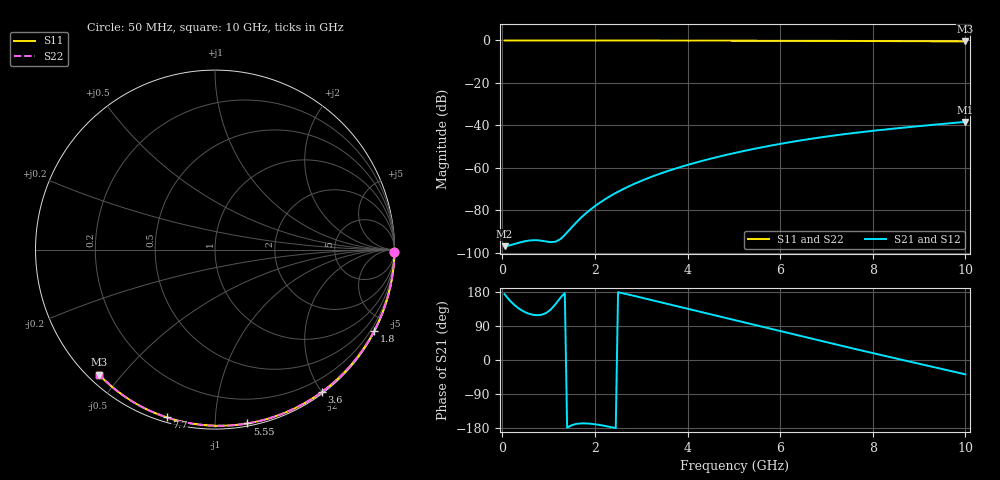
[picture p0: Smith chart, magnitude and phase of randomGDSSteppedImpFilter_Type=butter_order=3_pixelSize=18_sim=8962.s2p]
! freq	dB(S11)	phase(S11)	dB(S12)	phase(S12)
!  dB(S21)	phase(S21)	dB(S22)	phase(S22)
!S-par simulation data
#  GHz  S  DB  R 50
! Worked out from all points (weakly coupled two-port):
!   200 points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, 50 MHz to 10 GHz, reference 50 ohm
!   highest |S21| = -38.36 dB at 10 GHz (marker M1); lowest = -96.9 dB at 50 MHz (marker M2)
!   lowest |S11| = -0.4 dB at 10 GHz (marker M3), VSWR 38.78, Z = 1.53 - j21.8 ohm
!   |S11| at or under -10 dB: nowhere
!   |S22| runs from -0.4 to 0.0 dB; largest |S21 - S12| = 0
!   S11 on the Smith chart (normalised r, x): 50 MHz: open; 1.8 GHz: 0.04, -4.13; 3.6 GHz: 0.02, -2.00; 5.55 GHz: 0.02, -1.20; 7.7 GHz: 0.02, -0.75; 10 GHz: 0.03, -0.44
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0.05  -0.00 -0.8  -96.95 173.6  -96.95 173.6  -0.00 -0.8
0.45  -0.01 -6.9  -94.80 128.9  -94.80 128.9  -0.01 -6.9
0.9  -0.02 -13.7  -94.57 121.7  -94.57 121.7  -0.02 -13.7
1.75  -0.03 -26.5  -82.52 -167.2  -82.52 -167.2  -0.03 -26.5
1.8  -0.03 -27.2  -81.55 -167.3  -81.55 -167.3  -0.03 -27.2
1.9  -0.04 -28.7  -79.74 -168.1  -79.74 -168.1  -0.04 -28.7
2.05  -0.04 -30.9  -77.28 -170.4  -77.28 -170.4  -0.04 -30.9
2.25  -0.04 -33.8  -74.40 -174.7  -74.40 -174.7  -0.04 -33.8
2.45  -0.05 -36.8  -71.87 -179.7  -71.87 -179.7  -0.05 -36.8
2.65  -0.05 -39.7  -69.61 174.8  -69.61 174.8  -0.05 -39.7
3  -0.06 -44.7  -66.17 164.8  -66.17 164.8  -0.06 -44.7
3.4  -0.07 -50.4  -62.83 153.0  -62.83 153.0  -0.07 -50.4
3.6  -0.07 -53.2  -61.35 147.0  -61.35 147.0  -0.07 -53.2
4.3  -0.09 -62.8  -56.84 126.4  -56.84 126.4  -0.09 -62.8
5.05  -0.11 -72.9  -52.87 104.5  -52.87 104.5  -0.11 -72.9
5.55  -0.13 -79.4  -50.59 89.8  -50.59 89.8  -0.13 -79.4
6.1  -0.15 -86.5  -48.35 73.6  -48.35 73.6  -0.15 -86.5
6.7  -0.18 -94.0  -46.23 55.9  -46.23 55.9  -0.18 -94.0
7.7  -0.24 -106.1  -43.33 26.7  -43.33 26.7  -0.24 -106.1
8.35  -0.29 -113.8  -41.78 8.3  -41.78 8.3  -0.29 -113.8
9.15  -0.36 -123.1  -40.06 -13.8  -40.06 -13.8  -0.36 -123.1
10  -0.45 -132.9  -38.36 -37.9  -38.36 -37.9  -0.45 -132.9
